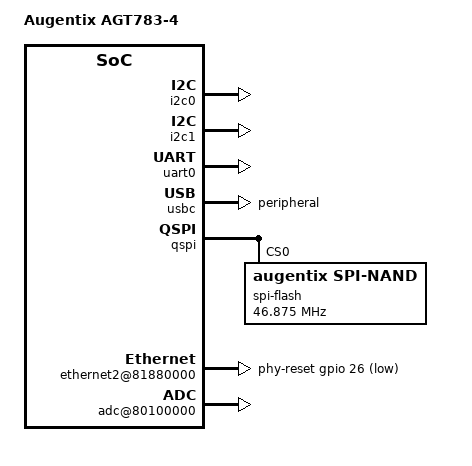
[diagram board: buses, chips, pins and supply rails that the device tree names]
/dts-v1/;
#include "hc1783s.dtsi"

/ {
	model = "Augentix AGT783-4";

	augentix_amp: augentix_amp {
		status = "okay";
	};

	soc@80000000 {
		i2c0: i2c@80070000 {
			status = "okay";
		};

		i2c1: i2c@80080000 {
			status = "okay";
		};

		uart0: uart@80820000 {
			status = "okay";
		};

		sdc0: sdc@818A0000 {
			status = "okay";
		};

		pwm: pwm@80060000 {
			// status = "okay";
		};

		sdc1_p0: sdc1_p0@818C0000 {
			// status = "okay";
		};

		sdc1_p1: sdc1_p1@818C0000 {
			// status = "okay";
		};

		usbc: usbc@A0000000 {
			dr_mode = "peripheral";
			status = "okay";
		};

		usb2_phy: usbphy@0 {
			status = "okay";
		};

		dummy_drive: dummy {
			status = "okay";
		};

		mpp {
			enc@81001000 {
				bsb-size = <0x300000 0x100000 0x100000 0x0>;
				rd-buf-size = <0x100000>;
				snapshot-size = <0x100000>;
				rd-buf-num = <4>;
				status = "ok";
			};
		};

		qspi: spi@83610000{
			status = "okay";
			nor@0{
				#address-cells = <1>;
				#size-cells = <1>;
				compatible = "augentix,m25p80", "augentix,spi-nor";
				reg = <0>;
				spi-max-frequency = <46875000>;
				spi-tx-bus-width = <4>;
				spi-rx-bus-width = <4>;
				m25p,fast-read;
				status = "disable";
			};

			nand@0{
				compatible = "augentix,spinand";
				reg = <0x0>;
				spi-max-frequency = <46875000>;
				#address-cells = <1>;
				#size-cells = <1>;
				spi-tx-bus-width = <4>;
				spi-rx-bus-width = <4>;
				status = "disable";
			};

			spi-flash@0 {
				compatible = "augentix,spi-nand";
				#address-cells = <1>;
				#size-cells = <1>;
				spi-max-frequency = <46875000>;
				spi-tx-bus-width = <4>;
				spi-rx-bus-width = <4>;
				reg = <0>;
				status = "okay";
			};
		};

		gpio: gpio@80001800 {
			aioc_gpio = <0x0 0x0>;
			pioc0_gpio = <0x0 0x0>;
			pioc1_gpio = <0x0 0x0>;
			pioc2_gpio = <0x0 0x0>;
			mipi_tx_gpio_o_0 = <0x0>;
			status = "okay";
		};

		gpio_test: gpio_test {
			compatible = "augentix,gpio-test";
			aioc-gpios = <&gpio 68 GPIO_ACTIVE_HIGH>;
			pioc0-gpios = <&gpio 0 GPIO_ACTIVE_HIGH>, <&gpio 15 GPIO_ACTIVE_HIGH>, <&gpio 20 GPIO_ACTIVE_HIGH>, <&gpio 25 GPIO_ACTIVE_HIGH>, <&gpio 31 GPIO_ACTIVE_HIGH>;
			pioc1-gpios = <&gpio 32 GPIO_ACTIVE_HIGH>, <&gpio 40 GPIO_ACTIVE_HIGH>, <&gpio 50 GPIO_ACTIVE_HIGH>, <&gpio 55 GPIO_ACTIVE_HIGH>, <&gpio 63 GPIO_ACTIVE_HIGH>;
			pioc2-gpios = <&gpio 64 GPIO_ACTIVE_HIGH>, <&gpio 65 GPIO_ACTIVE_HIGH>, <&gpio 66 GPIO_ACTIVE_HIGH>, <&gpio 67 GPIO_ACTIVE_HIGH>;
			mipitx-gpios = <&gpio 81 GPIO_ACTIVE_HIGH>, <&gpio 84 GPIO_ACTIVE_HIGH>, <&gpio 86 GPIO_ACTIVE_HIGH>, <&gpio 88 GPIO_ACTIVE_HIGH>, <&gpio 90 GPIO_ACTIVE_HIGH>;
			status = "disable";
		};

		timer_test: timer_test {
			compatible = "augentix,timer-test";
			aioc-gpios = <&gpio 68 GPIO_ACTIVE_HIGH>;
			pioc0-gpios = <&gpio 60 GPIO_ACTIVE_HIGH>, <&gpio 15 GPIO_ACTIVE_HIGH>, <&gpio 20 GPIO_ACTIVE_HIGH>, <&gpio 25 GPIO_ACTIVE_HIGH>, <&gpio 31 GPIO_ACTIVE_HIGH>;
			pioc1-gpios = <&gpio 32 GPIO_ACTIVE_HIGH>, <&gpio 40 GPIO_ACTIVE_HIGH>, <&gpio 50 GPIO_ACTIVE_HIGH>, <&gpio 55 GPIO_ACTIVE_HIGH>, <&gpio 63 GPIO_ACTIVE_HIGH>;
			pioc2-gpios = <&gpio 64 GPIO_ACTIVE_HIGH>, <&gpio 65 GPIO_ACTIVE_HIGH>, <&gpio 66 GPIO_ACTIVE_HIGH>, <&gpio 67 GPIO_ACTIVE_HIGH>;
			mipitx-gpios = <&gpio 81 GPIO_ACTIVE_HIGH>, <&gpio 84 GPIO_ACTIVE_HIGH>, <&gpio 86 GPIO_ACTIVE_HIGH>, <&gpio 88 GPIO_ACTIVE_HIGH>, <&gpio 90 GPIO_ACTIVE_HIGH>;
			interrupts = <0 99 4>;
			status = "disable";
		};

		clk_test: clk_test {
			compatible = "augentix,clk-test";
			clocks = <&clkc 0>, <&clkc 1>, <&clkc 2>, <&clkc 3>, <&clkc 4>, <&clkc 5>, <&clkc 6>, <&clkc 7>, <&clkc 8>, <&clkc 9>, <&clkc 10>, <&clkc 11>, <&clkc 12>, <&clkc 13>, <&clkc 14>, <&clkc 15>, <&clkc 16>, <&clkc 17>, <&clkc 18>, <&clkc 19>, <&clkc 20>, <&clkc 21>, <&clkc 22>, <&clkc 23>, <&clkc 24>, <&clkc 25>, <&clkc 26>, <&clkc 27>, <&clkc 28>, <&clkc 29>, <&clkc 30>, <&clkc 31>, <&clkc 32>, <&clkc 33>, <&clkc 34>, <&clkc 35>, <&clkc 36>, <&clkc 37>, <&clkc 38>, <&clkc 39>, <&clkc 40>, <&clkc 41>, <&clkc 42>, <&clkc 43>, <&clkc 44>, <&clkc 45>, <&clkc 46>, <&clkc 47>, <&clkc 48>, <&clkc 49>, <&clkc 50>, <&clkc 51>, <&clkc 52>, <&clkc 53>;
			clock-names = "clk_dramc", "clk_dramc_hdr", "clk_axi_dramc", "clk_dma", "clk_apb_spi0", "clk_apb_spi1", "clk_apb_uart0", "clk_apb_uart1", "clk_apb_uart2", "clk_apb_uart3", "clk_apb_uart4", "clk_apb_uart5", "clk_apb_sdc0", "clk_apb_sdc1", "clk_apb_emac", "clk_axi_rom", "clk_axi_ram", "clk_ahb_master", "clk_ahb_usb", "clk_ahb_sdc_0", "clk_ahb_sdc_1", "clk_emac_rgmii", "clk_emac_rmii", "clk_qspi", "clk_isp", "clk_vp", "clk_sensor", "clk_senif", "clk_is", "clk_disp", "clk_sdc_0", "clk_sdc_1", "clk_enc", "clk_efuse", "clk_eirq", "clk_is_lp", "clk_i2cm0", "clk_i2cm1", "clk_spi0", "clk_spi1", "clk_timer0", "clk_timer1", "clk_timer2", "clk_timer3", "clk_pwm_0", "clk_pwm_1", "clk_pwm_2", "clk_pwm_3", "clk_pwm_4", "clk_pwm_5", "clk_audio_in", "clk_audio_out", "clk_usb_utmi";
			clock-frequency = <800000000 400000000 400000000 100000000 250000000 250000000 250000000 250000000 250000000 250000000 250000000 250000000 250000000 250000000 250000000 250000000 250000000 250000000 250000000 250000000 250000000 250000000 50000000 200000000 375000000 375000000 37125000 297000000 445500000 445500000 200000000 200000000 333000000 24000000 24000000 24000000 24000000 24000000 24000000 24000000 24000000 24000000 24000000 24000000 24000000 24000000 50000000 50000000 24000000 24000000 140000000 100000000 60000000>;
			status = "disable";
		};

		ethernet2@81880000 {
			status = "okay";
			phy-reset-gpios = <&gpio 26 GPIO_ACTIVE_HIGH>;
		};

		adc@80100000 {
			status = "okay";
		};

		audio_pcm@80100000 {
			status = "okay";
			audio-output-amp-en-gpios = <&gpio 52 GPIO_ACTIVE_HIGH>;
		};

		audio_machine {
			status = "okay";
		};
	};
};
